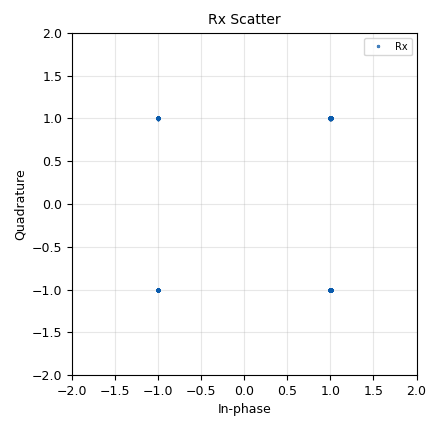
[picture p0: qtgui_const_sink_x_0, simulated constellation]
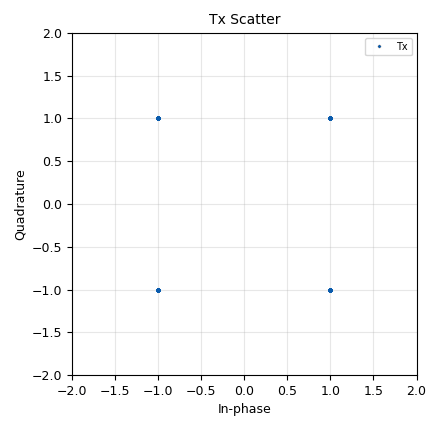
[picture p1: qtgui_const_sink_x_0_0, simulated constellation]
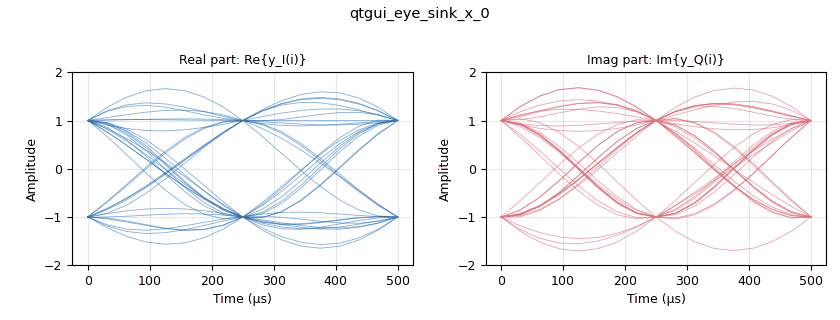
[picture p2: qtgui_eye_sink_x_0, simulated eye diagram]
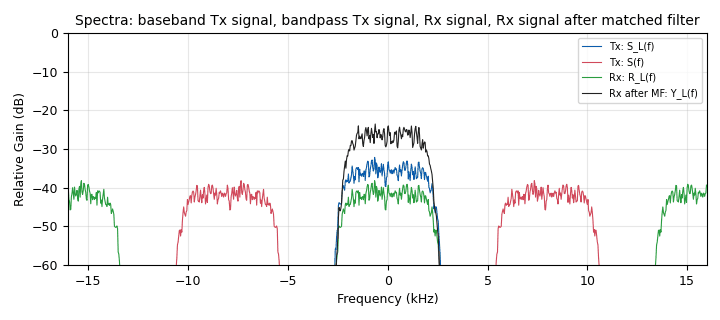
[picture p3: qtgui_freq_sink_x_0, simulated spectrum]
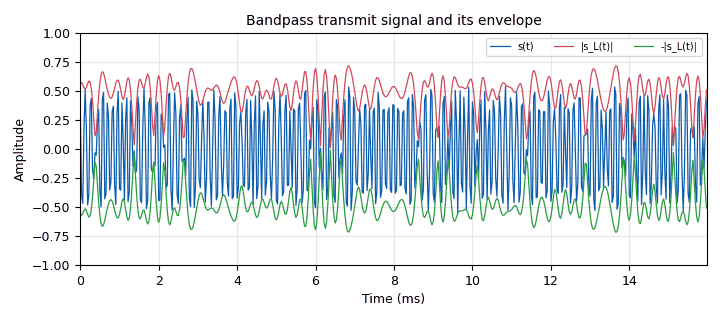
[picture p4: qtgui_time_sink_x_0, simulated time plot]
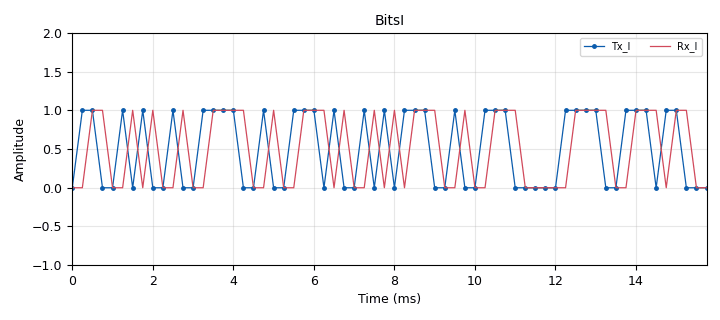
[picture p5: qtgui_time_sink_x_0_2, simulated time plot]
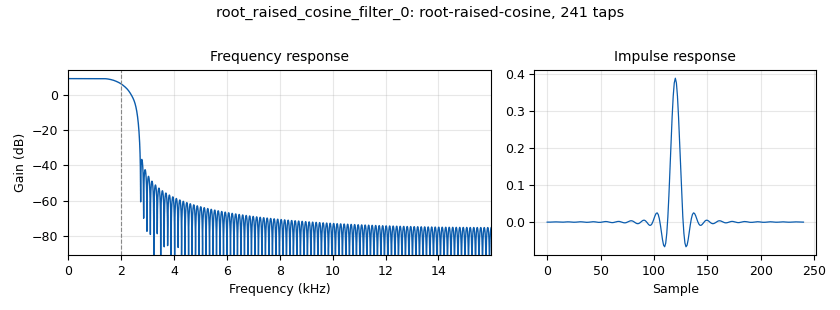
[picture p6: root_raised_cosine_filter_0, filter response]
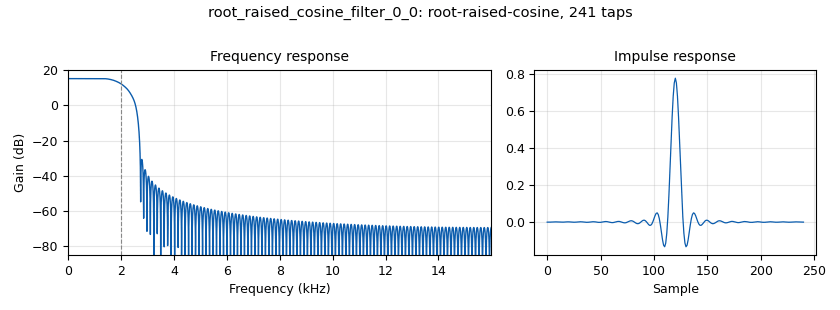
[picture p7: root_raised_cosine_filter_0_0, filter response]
options:
  parameters:
    generate_options: qt_gui
    id: Upsampling
    output_language: python
    title: QPSK IQ modulation
  states: {}

blocks:
- name: carrier_frequency
  id: variable
  parameters:
    value: samp_rate/4
  states: {}
- name: degree_glfsr
  id: variable
  parameters:
    value: '14'
  states: {}
- name: delay
  id: variable_qtgui_range
  parameters:
    comment: 0,0,1,1
    gui_hint: 0,0,1,1
    label: Delay
    start: '0'
    step: '1'
    stop: '200'
    value: nsymbols_rrcs-1
  states: {}
- name: nsymbols_rrcs
  id: variable
  parameters:
    value: '30'
  states: {}
- name: nsymbols_sink
  id: variable
  parameters:
    value: '64'
  states: {}
- name: samp_rate
  id: variable
  parameters:
    value: '32000'
  states: {}
- name: sps
  id: variable
  parameters:
    value: '8'
  states: {}
- name: analog_sig_source_x_0
  id: analog_sig_source_x
  parameters:
    amp: '1.0'
    comment: cos(2 pi f_0 t)
    freq: carrier_frequency
    offset: '0'
    phase: '0'
    samp_rate: samp_rate
    type: float
    waveform: analog.GR_COS_WAVE
  states: {}
- name: analog_sig_source_x_0_0
  id: analog_sig_source_x
  parameters:
    amp: '-1.0'
    comment: '-sin(2 pi f_0 t)'
    freq: carrier_frequency
    offset: '0'
    phase: '0'
    samp_rate: samp_rate
    type: float
    waveform: analog.GR_SIN_WAVE
  states: {}
- name: analog_sig_source_x_0_0_0
  id: analog_sig_source_x
  parameters:
    amp: '-1.0'
    comment: '-sin(2 pi f_0 t)'
    freq: carrier_frequency
    offset: '0'
    phase: '0'
    samp_rate: samp_rate
    type: float
    waveform: analog.GR_SIN_WAVE
  states: {}
- name: analog_sig_source_x_0_1
  id: analog_sig_source_x
  parameters:
    amp: '1.0'
    comment: cos(2 pi f_0 t)
    freq: carrier_frequency
    offset: '0'
    phase: '0'
    samp_rate: samp_rate
    type: float
    waveform: analog.GR_COS_WAVE
  states: {}
- name: blocks_add_xx_0
  id: blocks_add_xx
  parameters:
    type: float
  states: {}
- name: blocks_char_to_float_0
  id: blocks_char_to_float
  parameters:
    scale: '1'
  states: {}
- name: blocks_char_to_float_0_0
  id: blocks_char_to_float
  parameters:
    scale: '1'
  states: {}
- name: blocks_char_to_float_0_0_0
  id: blocks_char_to_float
  parameters:
    scale: '1'
  states: {}
- name: blocks_char_to_float_0_1
  id: blocks_char_to_float
  parameters:
    scale: '1'
  states: {}
- name: blocks_complex_to_float_0
  id: blocks_complex_to_float
  parameters: {}
  states: {}
- name: blocks_complex_to_float_0_0
  id: blocks_complex_to_float
  parameters: {}
  states: {}
- name: blocks_complex_to_mag_0
  id: blocks_complex_to_mag
  parameters: {}
  states: {}
- name: blocks_delay_0
  id: blocks_delay
  parameters:
    delay: delay
    type: float
  states: {}
- name: blocks_delay_0_0
  id: blocks_delay
  parameters:
    delay: delay
    type: float
  states: {}
- name: blocks_float_to_complex_0
  id: blocks_float_to_complex
  parameters: {}
  states: {}
- name: blocks_float_to_complex_0_0
  id: blocks_float_to_complex
  parameters: {}
  states: {}
- name: blocks_float_to_complex_1
  id: blocks_float_to_complex
  parameters: {}
  states: {}
- name: blocks_multiply_const_vxx_0
  id: blocks_multiply_const_vxx
  parameters:
    const: '-1'
    type: float
  states: {}
- name: blocks_multiply_xx_0
  id: blocks_multiply_xx
  parameters:
    type: float
  states: {}
- name: blocks_multiply_xx_0_0
  id: blocks_multiply_xx
  parameters:
    type: float
  states: {}
- name: blocks_multiply_xx_0_0_0
  id: blocks_multiply_xx
  parameters:
    type: float
  states: {}
- name: blocks_multiply_xx_0_1
  id: blocks_multiply_xx
  parameters:
    type: float
  states: {}
- name: blocks_threshold_ff_0
  id: blocks_threshold_ff
  parameters:
    high: '0'
    init: '0'
    low: '0'
  states: {}
- name: blocks_threshold_ff_0_0
  id: blocks_threshold_ff
  parameters:
    high: '0'
    init: '0'
    low: '0'
  states: {}
- name: blocks_throttle2_0
  id: blocks_throttle2
  parameters:
    samples_per_second: samp_rate
    type: float
  states: {}
- name: digital_glfsr_source_x_0
  id: digital_glfsr_source_x
  parameters:
    degree: degree_glfsr
    mask: '0'
    repeat: 'True'
    seed: '1'
    type: byte
  states: {}
- name: digital_glfsr_source_x_0_0
  id: digital_glfsr_source_x
  parameters:
    degree: degree_glfsr
    mask: '0'
    repeat: 'True'
    seed: '11'
    type: byte
  states: {}
- name: digital_map_bb_1
  id: digital_map_bb
  parameters:
    map: '[-1, 1]'
  states: {}
- name: digital_map_bb_1_0
  id: digital_map_bb
  parameters:
    map: '[-1, 1]'
  states: {}
- name: import_0
  id: import
  parameters:
    imports: import numpy as np
  states: {}
- name: menu
  id: qtgui_tab_widget
  parameters:
    label0: Time Domain
    label1: Frequency Domain
    label2: Bits
    label3: Constellations
    label4: Eye Diagram
    num_tabs: '5'
  states: {}
- name: qtgui_const_sink_x_0
  id: qtgui_const_sink_x
  parameters:
    comment: menu@3:0,1,1,1
    grid: 'True'
    gui_hint: menu@3:0,1,1,1
    label1: Rx
    name: '"Rx Scatter"'
    size: '1024'
    type: complex
  states: {}
- name: qtgui_const_sink_x_0_0
  id: qtgui_const_sink_x
  parameters:
    comment: menu@3:0,0,1,1
    grid: 'True'
    gui_hint: menu@3:0,0,1,1
    label1: Tx
    name: '"Tx Scatter"'
    size: '1024'
    type: complex
  states: {}
- name: qtgui_eye_sink_x_0
  id: qtgui_eye_sink_x
  parameters:
    comment: menu@4
    grid: 'True'
    gui_hint: menu@4
    label1: 'Real part: Re{y_I(i)}'
    label2: 'Imag part: Im{y_Q(i)}'
    marker1: '0'
    marker2: '0'
    samp_per_symbol: sps
    size: sps*nsymbols_sink
    srate: samp_rate
    type: complex
    ymax: '2'
    ymin: '-2'
  states: {}
- name: qtgui_freq_sink_x_0
  id: qtgui_freq_sink_x
  parameters:
    average: '0.05'
    bw: samp_rate
    comment: menu@1:0,0,1,2
    fc: '0'
    fftsize: '1024'
    grid: 'True'
    gui_hint: menu@1:0,0,1,2
    label1: '"Tx: S_L(f)"'
    label2: '"Tx: S(f)" '
    label3: '"Rx: R_L(f)"'
    label4: '"Rx after MF: Y_L(f)"'
    name: '"Spectra: baseband Tx signal, bandpass Tx signal, Rx signal, Rx signal after matched filter"'
    nconnections: '4'
    type: complex
    ymax: '0'
    ymin: '-60'
  states: {}
- name: qtgui_time_sink_x_0
  id: qtgui_time_sink_x
  parameters:
    color3: red
    comment: menu@0
    grid: 'True'
    gui_hint: menu@0
    label1: s(t)
    label2: '|s_L(t)|'
    label3: '-|s_L(t)|'
    name: '"Bandpass transmit signal and its envelope"'
    nconnections: '3'
    size: nsymbols_sink*sps
    srate: samp_rate
    type: float
  states: {}
- name: qtgui_time_sink_x_0_2
  id: qtgui_time_sink_x
  parameters:
    comment: menu@2:0,0,1,2
    gui_hint: menu@2:0,0,1,2
    label1: Tx_I
    label2: Rx_I
    marker1: '0'
    name: BitsI
    nconnections: '2'
    size: nsymbols_sink
    srate: samp_rate/sps
    tr_mode: qtgui.TRIG_MODE_AUTO
    type: float
    ymax: '2'
  states: {}
- name: qtgui_time_sink_x_0_2_0
  id: qtgui_time_sink_x
  parameters:
    comment: menu@2:1,0,1,2
    grid: 'True'
    gui_hint: menu@2:1,0,1,2
    label1: Tx_Q
    label2: Rx_Q
    marker1: '0'
    marker2: '0'
    name: BitsQ
    nconnections: '2'
    size: nsymbols_sink
    srate: samp_rate/sps
    tr_mode: qtgui.TRIG_MODE_AUTO
    type: float
    ymax: '2'
  states: {}
- name: rational_resampler_xxx_1
  id: rational_resampler_xxx
  parameters:
    decim: sps
    interp: '1'
    taps: '[1]'
    type: ccf
  states: {}
- name: root_raised_cosine_filter_0
  id: root_raised_cosine_filter
  parameters:
    alpha: '0.35'
    comment: |-
      Tx filter with upsamling or
      interpolation from symbol rate
      to sampling rate.
    gain: np.sqrt(sps)
    interp: sps
    ntaps: nsymbols_rrcs*sps
    samp_rate: samp_rate
    sym_rate: samp_rate/sps
    type: interp_fir_filter_ccf
  states: {}
- name: root_raised_cosine_filter_0_0
  id: root_raised_cosine_filter
  parameters:
    alpha: '0.35'
    comment: Matched filter, no decimation to symbol rate
    decim: '1'
    gain: 2*np.sqrt(sps)
    ntaps: nsymbols_rrcs*sps
    samp_rate: samp_rate
    sym_rate: samp_rate/sps
    type: fir_filter_ccf
  states: {}
- name: virtual_sink_0
  id: virtual_sink
  parameters:
    stream_id: TXsignal
  states: {}
- name: virtual_source_0
  id: virtual_source
  parameters:
    stream_id: TXsignal
  states: {}
- name: virtual_source_0_0
  id: virtual_source
  parameters:
    stream_id: TXsignal
  states: {}

connections:
- [analog_sig_source_x_0, '0', blocks_multiply_xx_0, '0']
- [analog_sig_source_x_0_0, '0', blocks_multiply_xx_0_0, '1']
- [analog_sig_source_x_0_0_0, '0', blocks_multiply_xx_0_0_0, '1']
- [analog_sig_source_x_0_1, '0', blocks_multiply_xx_0_1, '0']
- [blocks_add_xx_0, '0', qtgui_time_sink_x_0, '0']
- [blocks_add_xx_0, '0', virtual_sink_0, '0']
- [blocks_char_to_float_0, '0', blocks_float_to_complex_0, '0']
- [blocks_char_to_float_0_0, '0', blocks_delay_0, '0']
- [blocks_char_to_float_0_0_0, '0', blocks_delay_0_0, '0']
- [blocks_char_to_float_0_1, '0', blocks_float_to_complex_0, '1']
- [blocks_complex_to_float_0, '0', blocks_multiply_xx_0, '1']
- [blocks_complex_to_float_0, '1', blocks_multiply_xx_0_0, '0']
- [blocks_complex_to_float_0_0, '0', blocks_threshold_ff_0, '0']
- [blocks_complex_to_float_0_0, '1', blocks_threshold_ff_0_0, '0']
- [blocks_complex_to_mag_0, '0', blocks_multiply_const_vxx_0, '0']
- [blocks_complex_to_mag_0, '0', qtgui_time_sink_x_0, '1']
- [blocks_delay_0, '0', qtgui_time_sink_x_0_2, '0']
- [blocks_delay_0_0, '0', qtgui_time_sink_x_0_2_0, '0']
- [blocks_float_to_complex_0, '0', qtgui_const_sink_x_0_0, '0']
- [blocks_float_to_complex_0, '0', root_raised_cosine_filter_0, '0']
- [blocks_float_to_complex_0_0, '0', qtgui_freq_sink_x_0, '2']
- [blocks_float_to_complex_0_0, '0', root_raised_cosine_filter_0_0, '0']
- [blocks_float_to_complex_1, '0', qtgui_freq_sink_x_0, '1']
- [blocks_multiply_const_vxx_0, '0', qtgui_time_sink_x_0, '2']
- [blocks_multiply_xx_0, '0', blocks_add_xx_0, '0']
- [blocks_multiply_xx_0_0, '0', blocks_add_xx_0, '1']
- [blocks_multiply_xx_0_0_0, '0', blocks_float_to_complex_0_0, '1']
- [blocks_multiply_xx_0_1, '0', blocks_float_to_complex_0_0, '0']
- [blocks_threshold_ff_0, '0', qtgui_time_sink_x_0_2, '1']
- [blocks_threshold_ff_0_0, '0', qtgui_time_sink_x_0_2_0, '1']
- [blocks_throttle2_0, '0', blocks_multiply_xx_0_0_0, '0']
- [blocks_throttle2_0, '0', blocks_multiply_xx_0_1, '1']
- [digital_glfsr_source_x_0, '0', blocks_char_to_float_0_0, '0']
- [digital_glfsr_source_x_0, '0', digital_map_bb_1, '0']
- [digital_glfsr_source_x_0_0, '0', blocks_char_to_float_0_0_0, '0']
- [digital_glfsr_source_x_0_0, '0', digital_map_bb_1_0, '0']
- [digital_map_bb_1, '0', blocks_char_to_float_0, '0']
- [digital_map_bb_1_0, '0', blocks_char_to_float_0_1, '0']
- [rational_resampler_xxx_1, '0', blocks_complex_to_float_0_0, '0']
- [rational_resampler_xxx_1, '0', qtgui_const_sink_x_0, '0']
- [root_raised_cosine_filter_0, '0', blocks_complex_to_float_0, '0']
- [root_raised_cosine_filter_0, '0', blocks_complex_to_mag_0, '0']
- [root_raised_cosine_filter_0, '0', qtgui_freq_sink_x_0, '0']
- [root_raised_cosine_filter_0_0, '0', qtgui_eye_sink_x_0, '0']
- [root_raised_cosine_filter_0_0, '0', qtgui_freq_sink_x_0, '3']
- [root_raised_cosine_filter_0_0, '0', rational_resampler_xxx_1, '0']
- [virtual_source_0, '0', blocks_throttle2_0, '0']
- [virtual_source_0_0, '0', blocks_float_to_complex_1, '0']

metadata:
  file_format: 1
  grc_version: 3.10.10.0
